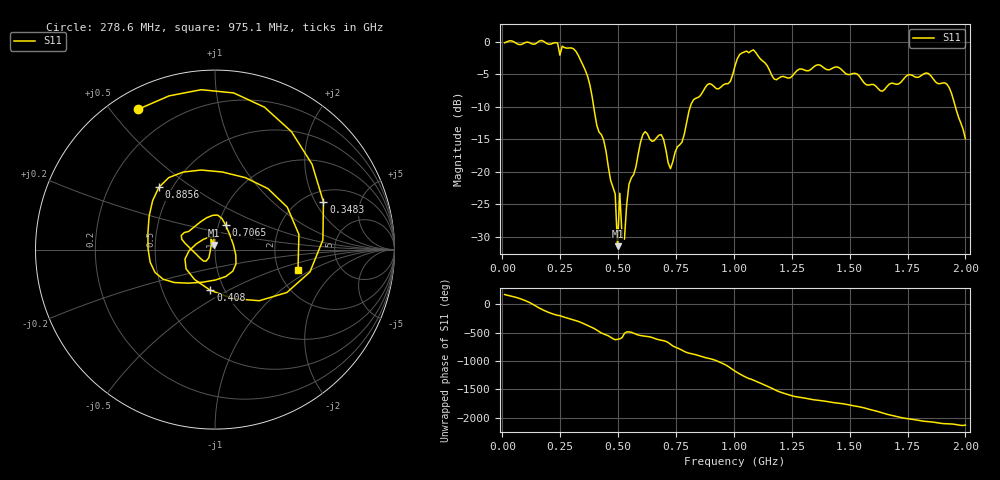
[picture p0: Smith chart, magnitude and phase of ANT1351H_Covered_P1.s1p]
!Created with skrf (http://scikit-rf.org).
# Hz S RI R 50.0
!freq ReS11 ImS11
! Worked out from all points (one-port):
!   201 points, 10 MHz to 2 GHz, reference 50 ohm
!   lowest |S11| = -31.4 dB at 497.6 MHz (marker M1), VSWR 1.06, Z = 49.4 + j2.61 ohm
!   |S11| at or under -10 dB: 394.8 MHz to 812.1 MHz (417.3 MHz wide, 69.2 % of centre); 1.957 GHz to end of sweep
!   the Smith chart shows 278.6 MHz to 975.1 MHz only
!   S11 on the Smith chart (normalised r, x): 278.6 MHz: 0.08, +0.59; 348.3 MHz: 2.48, +2.34; 408 MHz: 0.86, -0.41; 706.5 MHz: 1.08, +0.30; 885.6 MHz: 0.42, +0.38; 975.1 MHz: 2.57, -0.74
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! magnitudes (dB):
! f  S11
! 10 MHz  -0.2
! 258.8 MHz  -0.7
! 278.6 MHz  -1.0
! 348.3 MHz  -3.6
! 408 MHz  -12.8
! 487.6 MHz  -23.4
! 497.6 MHz  -31.4
! 507.5 MHz  -23.3
! 517.5 MHz  -30.0
! 527.4 MHz  -30.3
! 547.3 MHz  -21.9
! 607 MHz  -14.3
! 686.6 MHz  -14.3
! 706.5 MHz  -16.6
! 726.4 MHz  -19.5
! 756.2 MHz  -16.1
! 816 MHz  -9.6
! 885.6 MHz  -6.6
! 975.1 MHz  -6.5
! 1.005 GHz  -3.7
! 1.085 GHz  -1.3
! 1.174 GHz  -5.7
! 1.254 GHz  -5.2
! 1.502 GHz  -5.0
! 1.642 GHz  -7.6
! 1.751 GHz  -5.1
! 1.92 GHz  -6.5
! 2 GHz  -14.9
